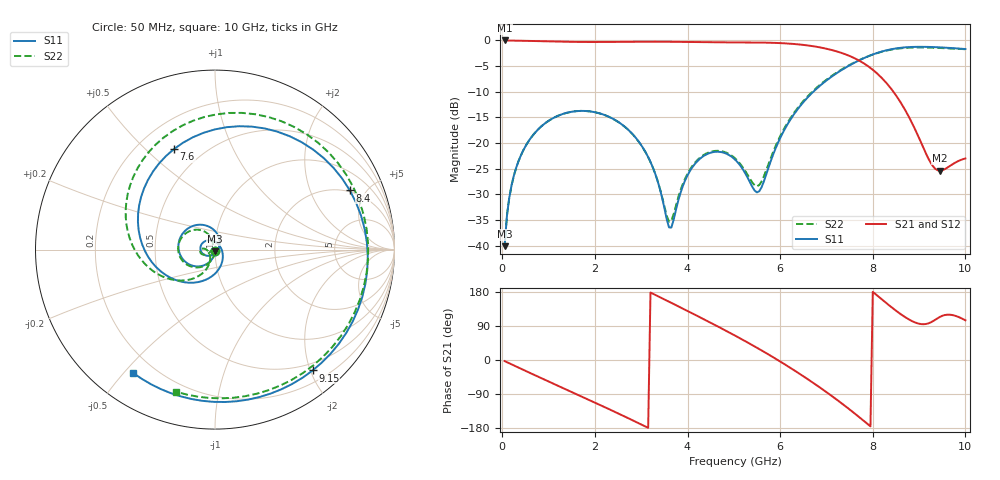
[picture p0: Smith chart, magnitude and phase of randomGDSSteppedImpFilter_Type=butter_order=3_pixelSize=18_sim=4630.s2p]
! freq	dB(S11)	phase(S11)	dB(S12)	phase(S12)
!  dB(S21)	phase(S21)	dB(S22)	phase(S22)
!S-par simulation data
#  GHz  S  DB  R 50
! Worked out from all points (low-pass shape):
!   200 points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, 50 MHz to 10 GHz, reference 50 ohm
!   highest |S21| = -0.01 dB at 50 MHz (marker M1); lowest = -25.4 dB at 9.45 GHz (marker M2)
!   |S21| within 3 dB of the highest: start of sweep to 7.493 GHz
!   lowest |S11| = -40.1 dB at 50 MHz (marker M3), VSWR 1.02, Z = 50 - j0.985 ohm
!   |S11| at or under -10 dB: start of sweep to 6.717 GHz
!   |S22| runs from -40.1 to -1.4 dB; largest |S21 - S12| = 0
!   S11 on the Smith chart (normalised r, x): 50 MHz: 1.00, -0.02; 7.6 GHz: 0.35, +0.62; 8.4 GHz: 1.92, +3.87; 9.15 GHz: 0.38, -2.04; 10 GHz: 0.12, -0.53
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0.05  -40.12 -91.9  -0.01 -2.9  -0.01 -2.9  -40.11 -91.7
0.2  -28.26 -101.8  -0.03 -11.5  -0.03 -11.5  -28.25 -101.0
0.5  -20.65 -120.1  -0.08 -28.6  -0.08 -28.6  -20.64 -118.0
1.15  -14.91 -158.4  -0.22 -65.1  -0.22 -65.1  -14.91 -153.2
1.75  -13.74 166.4  -0.30 -98.5  -0.30 -98.5  -13.74 175.3
2.75  -17.68 103.9  -0.26 -155.4  -0.26 -155.4  -17.70 124.9
3.4  -28.84 45.1  -0.25 166.0  -0.25 166.0  -28.78 109.6
3.65  -36.48 -50.8  -0.27 150.8  -0.27 150.8  -35.18 173.0
4.2  -23.66 -153.0  -0.33 117.0  -0.33 117.0  -23.44 -154.8
5.05  -23.45 131.1  -0.39 62.8  -0.39 62.8  -23.19 175.1
5.5  -29.63 36.7  -0.41 32.3  -0.41 32.3  -28.44 -152.6
5.9  -21.08 -66.1  -0.48 3.5  -0.48 3.5  -20.63 -112.1
6.7  -10.14 -153.5  -1.11 -59.2  -1.11 -59.2  -9.95 -150.7
7.15  -6.82 160.4  -1.95 -98.1  -1.95 -98.1  -6.69 176.4
7.6  -4.36 112.1  -3.44 -140.2  -3.44 -140.2  -4.30 138.4
8  -2.74 67.7  -5.72 179.8  -5.72 179.8  -2.75 99.7
8.35  -1.81 29.1  -8.89 144.6  -8.89 144.6  -1.88 62.6
8.4  -1.72 23.7  -9.46 139.7  -9.46 139.7  -1.79 57.1
8.8  -1.29 -17.8  -15.25 105.7  -15.25 105.7  -1.40 13.2
9.15  -1.25 -51.1  -22.07 95.0  -22.07 95.0  -1.38 -24.2
9.45  -1.35 -77.6  -25.40 113.8  -25.40 113.8  -1.47 -54.5
10  -1.67 -123.6  -23.02 104.7  -23.02 104.7  -1.71 -105.3
